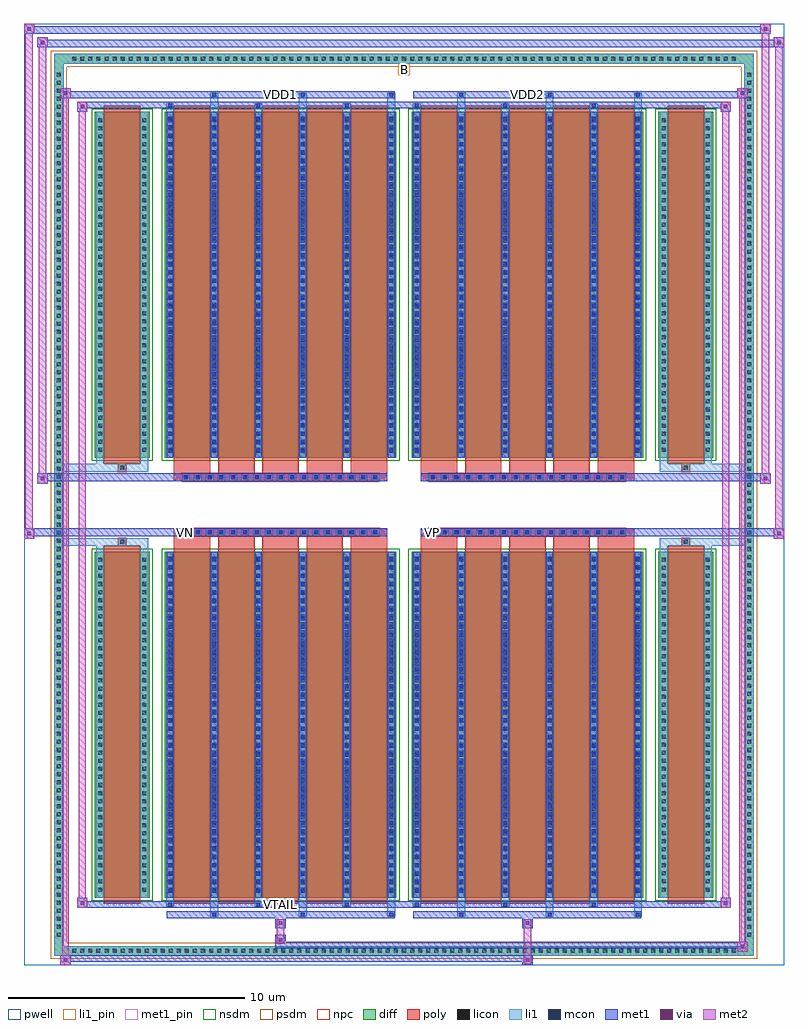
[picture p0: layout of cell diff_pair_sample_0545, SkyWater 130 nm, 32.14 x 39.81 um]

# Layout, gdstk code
import gdstk
lib = gdstk.Library(unit=1e-6, precision=5e-09)
def R(c, l, rs):  # rectangles x0, y0, x1, y1
    for r in rs: c.add(gdstk.rectangle(r[:2], r[2:], *l))
def A(c, l, x, y, w, h, nx, ny, dx, dy):  # array of equal rectangles
    R(c, l, [(x+i*dx, y+j*dy, x+i*dx+w, y+j*dy+h) for i in range(nx) for j in range(ny)])
def P(c, l, *ps):  # polygons
    for p in ps: c.add(gdstk.Polygon(p, *l))
pwell = (64, 44)
diff = (65, 20)
poly = (66, 20)
licon = (66, 44)
li1_pin = (67, 16)
li1 = (67, 20)
mcon = (67, 44)
met1_pin = (68, 16)
met1 = (68, 20)
via = (68, 44)
met2 = (69, 20)
nsdm = (93, 44)
psdm = (94, 20)
npc = (95, 20)

diff_pair_sample_0545 = lib.new_cell('diff_pair_sample_0545')
R(diff_pair_sample_0545, pwell, [(-16.07,-19.47,16.07,20.34), (-13.39,-17.66,-0.01,-0.8), (0.01,-17.66,13.39,-0.8), (-13.39,0.8,-0.01,17.66), (0.01,0.8,13.39,17.66)])
A(diff_pair_sample_0545, diff, -14.145, -19.07, 0.41, 0.41, 83, 2, 0.34, 37.73)
A(diff_pair_sample_0545, diff, -14.8, -18.395, 0.41, 0.41, 1, 108, 0, 0.34)
A(diff_pair_sample_0545, diff, 14.39, -18.395, 0.41, 0.41, 1, 108, 0, 0.34)
R(diff_pair_sample_0545, diff, [(-14.145,-19.07,14.145,-18.66), (-14.8,-18.395,-14.39,18.395), (14.39,-18.395,14.8,18.395), (-13.08,-16.615,-10.76,-1.985), (-10.12,-16.615,-0.32,-1.985), (0.32,-16.615,10.12,-1.985), (10.76,-16.615,13.08,-1.985), (-13.08,1.985,-10.76,16.615), (-10.12,1.985,-0.32,16.615), (0.32,1.985,10.12,16.615), (10.76,1.985,13.08,16.615), (-14.145,18.66,14.145,19.07)])
P(diff_pair_sample_0545, diff, [(14.8,19.07),(-14.8,19.07),(-14.8,-18.66),(-14.39,-18.66),(-14.39,18.66),(14.39,18.66),(14.39,-18.66),(-14.39,-18.66),(-14.8,-18.66),(-14.8,-19.07),(14.8,-19.07)])
A(diff_pair_sample_0545, poly, -9.73, -16.865, 1.54, 15.13, 5, 2, 1.87, 18.6)
A(diff_pair_sample_0545, poly, 0.71, -16.865, 1.54, 15.13, 5, 2, 1.87, 18.6)
A(diff_pair_sample_0545, poly, -9.73, -1.735, 1.54, 0.405, 5, 2, 1.87, 3.065)
A(diff_pair_sample_0545, poly, 0.71, -1.735, 1.54, 0.405, 5, 2, 1.87, 3.065)
A(diff_pair_sample_0545, poly, -9.385, -1.33, 0.33, 0.33, 17, 2, 0.5, 2.33)
A(diff_pair_sample_0545, poly, 1.055, -1.33, 0.33, 0.33, 17, 2, 0.5, 2.33)
R(diff_pair_sample_0545, poly, [(-12.69,-16.865,-11.15,-1.735), (11.15,-16.865,12.69,-1.735), (-12.085,-1.735,-11.755,-1.405), (-12.085,-1.735,-11.755,-1.405), (11.755,-1.735,12.085,-1.405), (11.755,-1.735,12.085,-1.405), (-9.73,-1.33,-0.71,-1), (0.71,-1.33,9.73,-1), (-9.73,1,-0.71,1.33), (0.71,1,9.73,1.33), (-12.085,1.405,-11.755,1.735), (-12.085,1.405,-11.755,1.735), (11.755,1.405,12.085,1.735), (11.755,1.405,12.085,1.735), (-12.69,1.735,-11.15,16.865), (11.15,1.735,12.69,16.865)])
A(diff_pair_sample_0545, licon, -14.025, -18.95, 0.17, 0.17, 83, 2, 0.34, 37.73)
A(diff_pair_sample_0545, licon, -14.68, -18.275, 0.17, 0.17, 1, 108, 0, 0.34)
A(diff_pair_sample_0545, licon, 14.51, -18.275, 0.17, 0.17, 1, 108, 0, 0.34)
A(diff_pair_sample_0545, licon, -12.94, -16.355, 0.17, 0.17, 1, 42, 0, 0.34)
A(diff_pair_sample_0545, licon, -11.07, -16.355, 0.17, 0.17, 1, 42, 0, 0.34)
A(diff_pair_sample_0545, licon, -9.98, -16.355, 0.17, 0.17, 6, 42, 1.87, 0.34)
A(diff_pair_sample_0545, licon, 0.46, -16.355, 0.17, 0.17, 6, 42, 1.87, 0.34)
A(diff_pair_sample_0545, licon, 10.9, -16.355, 0.17, 0.17, 1, 42, 0, 0.34)
A(diff_pair_sample_0545, licon, 12.77, -16.355, 0.17, 0.17, 1, 42, 0, 0.34)
A(diff_pair_sample_0545, licon, -9.305, -1.25, 0.17, 0.17, 17, 2, 0.5, 2.33)
A(diff_pair_sample_0545, licon, 1.135, -1.25, 0.17, 0.17, 17, 2, 0.5, 2.33)
A(diff_pair_sample_0545, licon, -12.94, 2.245, 0.17, 0.17, 1, 42, 0, 0.34)
A(diff_pair_sample_0545, licon, -11.07, 2.245, 0.17, 0.17, 1, 42, 0, 0.34)
A(diff_pair_sample_0545, licon, -9.98, 2.245, 0.17, 0.17, 6, 42, 1.87, 0.34)
A(diff_pair_sample_0545, licon, 0.46, 2.245, 0.17, 0.17, 6, 42, 1.87, 0.34)
A(diff_pair_sample_0545, licon, 10.9, 2.245, 0.17, 0.17, 1, 42, 0, 0.34)
A(diff_pair_sample_0545, licon, 12.77, 2.245, 0.17, 0.17, 1, 42, 0, 0.34)
R(diff_pair_sample_0545, licon, [(-12.005,-1.655,-11.835,-1.485), (11.835,-1.655,12.005,-1.485), (-12.005,1.485,-11.835,1.655), (11.835,1.485,12.005,1.655)])
R(diff_pair_sample_0545, li1_pin, [(-0.25,18.16,0.25,18.66)])
A(diff_pair_sample_0545, li1, -14.105, -19.03, 0.33, 0.33, 83, 2, 0.34, 37.73)
A(diff_pair_sample_0545, li1, -14.76, -18.355, 0.33, 0.33, 1, 108, 0, 0.34)
A(diff_pair_sample_0545, li1, 14.43, -18.355, 0.33, 0.33, 1, 108, 0, 0.34)
A(diff_pair_sample_0545, li1, -8.19, -17.42, 0.33, 0.805, 3, 2, 3.74, 34.035)
A(diff_pair_sample_0545, li1, -8.11, -17.42, 0.17, 0.17, 3, 2, 3.74, 34.67)
A(diff_pair_sample_0545, li1, 2.25, -17.42, 0.33, 0.805, 3, 2, 3.74, 34.035)
A(diff_pair_sample_0545, li1, 2.33, -17.42, 0.17, 0.17, 3, 2, 3.74, 34.67)
A(diff_pair_sample_0545, li1, -10.06, -16.99, 0.33, 0.375, 3, 2, 3.74, 33.605)
A(diff_pair_sample_0545, li1, -9.98, -16.99, 0.17, 0.17, 3, 2, 3.74, 33.81)
A(diff_pair_sample_0545, li1, 0.38, -16.99, 0.33, 0.375, 3, 2, 3.74, 33.605)
A(diff_pair_sample_0545, li1, 0.46, -16.99, 0.17, 0.17, 3, 2, 3.74, 33.81)
A(diff_pair_sample_0545, li1, -10.06, -16.615, 0.33, 14.63, 6, 2, 1.87, 18.6)
A(diff_pair_sample_0545, li1, 0.38, -16.615, 0.33, 14.63, 6, 2, 1.87, 18.6)
A(diff_pair_sample_0545, li1, -13.02, -16.435, 0.33, 0.33, 1, 42, 0, 0.34)
A(diff_pair_sample_0545, li1, -11.15, -16.435, 0.33, 0.33, 1, 42, 0, 0.34)
A(diff_pair_sample_0545, li1, -10.06, -16.435, 0.33, 0.33, 6, 42, 1.87, 0.34)
A(diff_pair_sample_0545, li1, 0.38, -16.435, 0.33, 0.33, 6, 42, 1.87, 0.34)
A(diff_pair_sample_0545, li1, 10.82, -16.435, 0.33, 0.33, 1, 42, 0, 0.34)
A(diff_pair_sample_0545, li1, 12.69, -16.435, 0.33, 0.33, 1, 42, 0, 0.34)
A(diff_pair_sample_0545, li1, -9.98, -16.405, 0.17, 0.17, 6, 40, 1.87, 0.36)
A(diff_pair_sample_0545, li1, -9.98, -16.405, 0.17, 14.21, 6, 2, 1.87, 18.6)
A(diff_pair_sample_0545, li1, 0.46, -16.405, 0.17, 0.17, 6, 40, 1.87, 0.36)
A(diff_pair_sample_0545, li1, 0.46, -16.405, 0.17, 14.21, 6, 2, 1.87, 18.6)
A(diff_pair_sample_0545, li1, -9.385, -1.33, 0.33, 0.33, 17, 2, 0.5, 2.33)
A(diff_pair_sample_0545, li1, 1.055, -1.33, 0.33, 0.33, 17, 2, 0.5, 2.33)
A(diff_pair_sample_0545, li1, -13.02, 2.165, 0.33, 0.33, 1, 42, 0, 0.34)
A(diff_pair_sample_0545, li1, -11.15, 2.165, 0.33, 0.33, 1, 42, 0, 0.34)
A(diff_pair_sample_0545, li1, -10.06, 2.165, 0.33, 0.33, 6, 42, 1.87, 0.34)
A(diff_pair_sample_0545, li1, 0.38, 2.165, 0.33, 0.33, 6, 42, 1.87, 0.34)
A(diff_pair_sample_0545, li1, 10.82, 2.165, 0.33, 0.33, 1, 42, 0, 0.34)
A(diff_pair_sample_0545, li1, 12.69, 2.165, 0.33, 0.33, 1, 42, 0, 0.34)
A(diff_pair_sample_0545, li1, -9.98, 2.195, 0.17, 0.17, 6, 40, 1.87, 0.36)
A(diff_pair_sample_0545, li1, 0.46, 2.195, 0.17, 0.17, 6, 40, 1.87, 0.36)
R(diff_pair_sample_0545, li1, [(-14.8,-19.07,-14.39,-18.66), (-14.8,-19.07,-14.39,-18.66), (-14.39,-19.07,14.39,-18.66), (14.39,-19.07,14.8,-18.66), (14.39,-19.07,14.8,-18.66), (-14.8,-18.66,-14.39,18.66), (14.39,-18.66,14.8,18.66), (-13.02,-16.615,-12.69,-1.985), (-11.15,-16.615,-10.82,-1.985), (10.82,-16.615,11.15,-1.985), (12.69,-16.615,13.02,-1.985), (-13.02,-1.985,-12.69,-1.405), (-11.15,-1.985,-10.82,-1.405), (10.82,-1.985,11.15,-1.405), (12.69,-1.985,13.02,-1.405), (-14.8,-1.735,-12.085,-1.405), (-13.02,-1.735,-12.085,-1.405), (-12.085,-1.735,-11.755,-1.405), (-11.755,-1.735,-10.82,-1.405), (10.82,-1.735,11.755,-1.405), (11.755,-1.735,12.085,-1.405), (11.755,-1.735,14.8,-1.405), (12.085,-1.735,13.02,-1.405), (-14.8,1.405,-12.085,1.735), (-13.02,1.405,-12.085,1.735), (-13.02,1.405,-12.69,1.985), (-12.085,1.405,-11.755,1.735), (-11.755,1.405,-10.82,1.735), (-11.15,1.405,-10.82,1.985), (10.82,1.405,11.755,1.735), (10.82,1.405,11.15,1.985), (11.755,1.405,12.085,1.735), (11.755,1.405,14.8,1.735), (12.085,1.405,13.02,1.735), (12.69,1.405,13.02,1.985), (-13.02,1.985,-12.69,16.615), (-11.15,1.985,-10.82,16.615), (10.82,1.985,11.15,16.615), (12.69,1.985,13.02,16.615), (-14.8,18.66,-14.39,19.07), (-14.8,18.66,-14.39,19.07), (-14.39,18.66,14.39,19.07), (14.39,18.66,14.8,19.07), (14.39,18.66,14.8,19.07)])
A(diff_pair_sample_0545, mcon, -8.11, -17.42, 0.17, 0.17, 3, 2, 3.74, 34.67)
A(diff_pair_sample_0545, mcon, 2.33, -17.42, 0.17, 0.17, 3, 2, 3.74, 34.67)
A(diff_pair_sample_0545, mcon, -9.98, -16.99, 0.17, 0.17, 3, 2, 3.74, 33.81)
A(diff_pair_sample_0545, mcon, 0.46, -16.99, 0.17, 0.17, 3, 2, 3.74, 33.81)
A(diff_pair_sample_0545, mcon, -9.98, -16.405, 0.17, 0.17, 6, 40, 1.87, 0.36)
A(diff_pair_sample_0545, mcon, 0.46, -16.405, 0.17, 0.17, 6, 40, 1.87, 0.36)
A(diff_pair_sample_0545, mcon, -9.305, -1.25, 0.17, 0.17, 17, 2, 0.5, 2.33)
A(diff_pair_sample_0545, mcon, 1.135, -1.25, 0.17, 0.17, 17, 2, 0.5, 2.33)
A(diff_pair_sample_0545, mcon, -9.98, 2.195, 0.17, 0.17, 6, 40, 1.87, 0.36)
A(diff_pair_sample_0545, mcon, 0.46, 2.195, 0.17, 0.17, 6, 40, 1.87, 0.36)
R(diff_pair_sample_0545, met1_pin, [(-5.355,-17.03,-5.085,-16.76), (-9.355,-1.29,-9.085,-1.02), (1.085,-1.29,1.355,-1.02), (-5.355,17.21,-5.085,17.48), (5.085,17.21,5.355,17.48)])
A(diff_pair_sample_0545, met1, -8.17, -17.48, 0.29, 0.29, 3, 2, 3.74, 34.67)
A(diff_pair_sample_0545, met1, 2.27, -17.48, 0.29, 0.29, 3, 2, 3.74, 34.67)
A(diff_pair_sample_0545, met1, -10.04, -17.05, 0.29, 0.29, 3, 2, 3.74, 33.81)
A(diff_pair_sample_0545, met1, 0.4, -17.05, 0.29, 0.29, 3, 2, 3.74, 33.81)
A(diff_pair_sample_0545, met1, -10.04, -16.615, 0.29, 14.63, 6, 2, 1.87, 18.6)
A(diff_pair_sample_0545, met1, 0.4, -16.615, 0.29, 14.63, 6, 2, 1.87, 18.6)
A(diff_pair_sample_0545, met1, -10.04, -16.465, 0.29, 0.29, 6, 40, 1.87, 0.36)
A(diff_pair_sample_0545, met1, 0.4, -16.465, 0.29, 0.29, 6, 40, 1.87, 0.36)
A(diff_pair_sample_0545, met1, -9.365, -1.31, 0.29, 0.29, 17, 2, 0.5, 2.33)
A(diff_pair_sample_0545, met1, 1.075, -1.31, 0.29, 0.29, 17, 2, 0.5, 2.33)
A(diff_pair_sample_0545, met1, -10.04, 2.135, 0.29, 0.29, 6, 40, 1.87, 0.36)
A(diff_pair_sample_0545, met1, 0.4, 2.135, 0.29, 0.29, 6, 40, 1.87, 0.36)
R(diff_pair_sample_0545, met1, [(-14.53,-19.47,-14.1,-19.04), (5.005,-19.47,5.435,-19.04), (-14.53,-19.33,5.435,-19.04), (14.1,-18.9,14.53,-18.47), (-5.435,-18.76,14.53,-18.47), (-5.435,-18.62,-5.005,-18.19), (-5.435,-17.91,-5.005,-17.48), (5.005,-17.91,5.435,-17.48), (-10.04,-17.48,-0.4,-17.19), (0.4,-17.48,10.04,-17.19), (-13.82,-17.05,-13.39,-16.62), (-13.82,-17.05,-10.04,-16.76), (-10.04,-17.05,-0.4,-16.76), (-0.4,-17.05,0.4,-16.76), (0.4,-17.05,10.04,-16.76), (10.04,-17.05,13.82,-16.76), (13.39,-17.05,13.82,-16.62), (-16.07,-1.43,-15.64,-1), (15.64,-1.43,16.07,-1), (-16.07,-1.33,-0.71,-1), (-9.73,-1.33,-0.71,-1), (0.71,-1.33,9.73,-1), (0.71,-1.33,16.07,-1), (-15.5,0.9,-15.07,1.33), (15.07,0.9,15.5,1.33), (-15.5,1,-9.73,1.33), (-9.73,1,-0.71,1.33), (0.71,1,9.73,1.33), (9.73,1,15.5,1.33), (-13.82,16.62,-13.39,17.05), (13.39,16.62,13.82,17.05), (-13.82,16.76,-10.04,17.05), (-10.04,16.76,-0.4,17.05), (-0.4,16.76,0.4,17.05), (0.4,16.76,10.04,17.05), (10.04,16.76,13.82,17.05), (-14.53,17.19,-14.1,17.62), (-14.53,17.19,-10.04,17.48), (-10.04,17.19,-0.4,17.48), (0.4,17.19,10.04,17.48), (10.04,17.19,14.53,17.48), (14.1,17.19,14.53,17.62), (-15.5,19.34,-15.07,19.77), (-15.5,19.34,-13.39,19.67), (-13.39,19.34,13.39,19.67), (13.39,19.34,16.07,19.67), (15.64,19.34,16.07,19.77), (-16.07,19.91,-15.64,20.34), (-16.07,19.91,-13.39,20.24), (-13.39,19.91,13.39,20.24), (13.39,19.91,15.5,20.24), (15.07,19.91,15.5,20.34)])
R(diff_pair_sample_0545, via, [(-14.39,-19.33,-14.24,-19.18), (5.145,-19.33,5.295,-19.18), (14.24,-18.76,14.39,-18.61), (-5.295,-18.48,-5.145,-18.33), (-5.295,-17.77,-5.145,-17.62), (5.145,-17.77,5.295,-17.62), (-13.68,-16.91,-13.53,-16.76), (13.53,-16.91,13.68,-16.76), (-15.93,-1.29,-15.78,-1.14), (15.78,-1.29,15.93,-1.14), (-15.36,1.04,-15.21,1.19), (15.21,1.04,15.36,1.19), (-13.68,16.76,-13.53,16.91), (13.53,16.76,13.68,16.91), (-14.39,17.33,-14.24,17.48), (14.24,17.33,14.39,17.48), (-15.36,19.48,-15.21,19.63), (15.78,19.48,15.93,19.63), (-15.93,20.05,-15.78,20.2), (15.21,20.05,15.36,20.2)])
R(diff_pair_sample_0545, met2, [(-14.53,-19.47,-14.1,-19.04), (-14.46,-19.47,-14.17,17.62), (-14.17,-19.47,-14.1,-19.04), (-14.48,-19.42,-14.15,-19.09), (5.055,-19.42,5.385,-19.09), (5.055,-19.09,5.385,-17.86), (14.1,-18.9,14.53,-18.47), (14.17,-18.9,14.46,17.62), (14.46,-18.9,14.53,-18.47), (14.15,-18.85,14.48,-18.52), (-5.385,-18.57,-5.055,-18.24), (-5.385,-18.24,-5.055,-17.86), (-5.385,-17.86,-5.055,-17.53), (5.055,-17.86,5.385,-17.53), (-13.82,-17.05,-13.39,-16.62), (-13.75,-17.05,-13.46,17.05), (-13.46,-17.05,-13.39,-16.62), (13.39,-17.05,13.82,-16.62), (13.46,-17.05,13.75,17.05), (13.75,-17.05,13.82,-16.62), (-13.77,-17,-13.44,-16.67), (13.44,-17,13.77,-16.67), (-16.07,-1.43,-15.64,-1), (-16.02,-1.43,-15.69,20.34), (-15.69,-1.43,-15.64,-1), (15.64,-1.43,16.07,-1), (15.69,-1.43,16.02,19.77), (16.02,-1.43,16.07,-1), (-16.02,-1.38,-15.69,-1.05), (15.69,-1.38,16.02,-1.05), (-15.5,0.9,-15.07,1.33), (-15.45,0.9,-15.12,19.77), (-15.12,0.9,-15.07,1.33), (15.07,0.9,15.5,1.33), (15.12,0.9,15.45,20.34), (15.45,0.9,15.5,1.33), (-15.45,0.95,-15.12,1.28), (15.12,0.95,15.45,1.28), (-13.82,16.62,-13.39,17.05), (-13.46,16.62,-13.39,17.05), (13.39,16.62,13.82,17.05), (13.75,16.62,13.82,17.05), (-13.77,16.67,-13.44,17), (13.44,16.67,13.77,17), (-14.53,17.19,-14.1,17.62), (-14.17,17.19,-14.1,17.62), (14.1,17.19,14.53,17.62), (14.46,17.19,14.53,17.62), (-14.48,17.24,-14.15,17.57), (14.15,17.24,14.48,17.57), (-15.5,19.34,-15.07,19.77), (-15.12,19.34,-15.07,19.77), (15.64,19.34,16.07,19.77), (16.02,19.34,16.07,19.77), (-15.45,19.39,-15.12,19.72), (15.69,19.39,16.02,19.72), (-16.07,19.91,-15.64,20.34), (-15.69,19.91,-15.64,20.34), (15.07,19.91,15.5,20.34), (15.45,19.91,15.5,20.34), (-16.02,19.96,-15.69,20.29), (15.12,19.96,15.45,20.29)])
R(diff_pair_sample_0545, nsdm, [(-13.21,-16.745,-10.63,-1.855), (-10.25,-16.745,-0.19,-1.855), (0.19,-16.745,10.25,-1.855), (10.63,-16.745,13.21,-1.855), (-13.21,1.855,-10.63,16.745), (-10.25,1.855,-0.19,16.745), (0.19,1.855,10.25,16.745), (10.63,1.855,13.21,16.745)])
P(diff_pair_sample_0545, psdm, [(14.93,19.2),(-14.93,19.2),(-14.93,-18.53),(-14.26,-18.53),(-14.26,18.53),(14.26,18.53),(14.26,-18.53),(-14.26,-18.53),(-14.93,-18.53),(-14.93,-19.2),(14.93,-19.2)])
A(diff_pair_sample_0545, npc, -9.405, -1.35, 0.37, 0.37, 17, 2, 0.5, 2.33)
A(diff_pair_sample_0545, npc, 1.035, -1.35, 0.37, 0.37, 17, 2, 0.5, 2.33)
R(diff_pair_sample_0545, npc, [(-12.105,-1.755,-11.735,-1.385), (11.735,-1.755,12.105,-1.385), (-9.405,-1.35,-8.535,-0.98), (-9.405,-1.35,-8.535,-0.98), (-8.905,-1.35,-8.035,-0.98), (-8.905,-1.35,-8.035,-0.98), (-8.405,-1.35,-7.535,-0.98), (-8.405,-1.35,-7.535,-0.98), (-7.905,-1.35,-7.035,-0.98), (-7.905,-1.35,-7.035,-0.98), (-7.405,-1.35,-6.535,-0.98), (-7.405,-1.35,-6.535,-0.98), (-6.905,-1.35,-6.035,-0.98), (-6.905,-1.35,-6.035,-0.98), (-6.405,-1.35,-5.535,-0.98), (-6.405,-1.35,-5.535,-0.98), (-5.905,-1.35,-5.035,-0.98), (-5.905,-1.35,-5.035,-0.98), (-5.405,-1.35,-4.535,-0.98), (-5.405,-1.35,-4.535,-0.98), (-4.905,-1.35,-4.035,-0.98), (-4.905,-1.35,-4.035,-0.98), (-4.405,-1.35,-3.535,-0.98), (-4.405,-1.35,-3.535,-0.98), (-3.905,-1.35,-3.035,-0.98), (-3.905,-1.35,-3.035,-0.98), (-3.405,-1.35,-2.535,-0.98), (-3.405,-1.35,-2.535,-0.98), (-2.905,-1.35,-2.035,-0.98), (-2.905,-1.35,-2.035,-0.98), (-2.405,-1.35,-1.535,-0.98), (-2.405,-1.35,-1.535,-0.98), (-1.905,-1.35,-1.035,-0.98), (-1.905,-1.35,-1.035,-0.98), (1.035,-1.35,1.905,-0.98), (1.035,-1.35,1.905,-0.98), (1.535,-1.35,2.405,-0.98), (1.535,-1.35,2.405,-0.98), (2.035,-1.35,2.905,-0.98), (2.035,-1.35,2.905,-0.98), (2.535,-1.35,3.405,-0.98), (2.535,-1.35,3.405,-0.98), (3.035,-1.35,3.905,-0.98), (3.035,-1.35,3.905,-0.98), (3.535,-1.35,4.405,-0.98), (3.535,-1.35,4.405,-0.98), (4.035,-1.35,4.905,-0.98), (4.035,-1.35,4.905,-0.98), (4.535,-1.35,5.405,-0.98), (4.535,-1.35,5.405,-0.98), (5.035,-1.35,5.905,-0.98), (5.035,-1.35,5.905,-0.98), (5.535,-1.35,6.405,-0.98), (5.535,-1.35,6.405,-0.98), (6.035,-1.35,6.905,-0.98), (6.035,-1.35,6.905,-0.98), (6.535,-1.35,7.405,-0.98), (6.535,-1.35,7.405,-0.98), (7.035,-1.35,7.905,-0.98), (7.035,-1.35,7.905,-0.98), (7.535,-1.35,8.405,-0.98), (7.535,-1.35,8.405,-0.98), (8.035,-1.35,8.905,-0.98), (8.035,-1.35,8.905,-0.98), (8.535,-1.35,9.405,-0.98), (8.535,-1.35,9.405,-0.98), (-9.405,0.98,-8.535,1.35), (-9.405,0.98,-8.535,1.35), (-8.905,0.98,-8.035,1.35), (-8.905,0.98,-8.035,1.35), (-8.405,0.98,-7.535,1.35), (-8.405,0.98,-7.535,1.35), (-7.905,0.98,-7.035,1.35), (-7.905,0.98,-7.035,1.35), (-7.405,0.98,-6.535,1.35), (-7.405,0.98,-6.535,1.35), (-6.905,0.98,-6.035,1.35), (-6.905,0.98,-6.035,1.35), (-6.405,0.98,-5.535,1.35), (-6.405,0.98,-5.535,1.35), (-5.905,0.98,-5.035,1.35), (-5.905,0.98,-5.035,1.35), (-5.405,0.98,-4.535,1.35), (-5.405,0.98,-4.535,1.35), (-4.905,0.98,-4.035,1.35), (-4.905,0.98,-4.035,1.35), (-4.405,0.98,-3.535,1.35), (-4.405,0.98,-3.535,1.35), (-3.905,0.98,-3.035,1.35), (-3.905,0.98,-3.035,1.35), (-3.405,0.98,-2.535,1.35), (-3.405,0.98,-2.535,1.35), (-2.905,0.98,-2.035,1.35), (-2.905,0.98,-2.035,1.35), (-2.405,0.98,-1.535,1.35), (-2.405,0.98,-1.535,1.35), (-1.905,0.98,-1.035,1.35), (-1.905,0.98,-1.035,1.35), (1.035,0.98,1.905,1.35), (1.035,0.98,1.905,1.35), (1.535,0.98,2.405,1.35), (1.535,0.98,2.405,1.35), (2.035,0.98,2.905,1.35), (2.035,0.98,2.905,1.35), (2.535,0.98,3.405,1.35), (2.535,0.98,3.405,1.35), (3.035,0.98,3.905,1.35), (3.035,0.98,3.905,1.35), (3.535,0.98,4.405,1.35), (3.535,0.98,4.405,1.35), (4.035,0.98,4.905,1.35), (4.035,0.98,4.905,1.35), (4.535,0.98,5.405,1.35), (4.535,0.98,5.405,1.35), (5.035,0.98,5.905,1.35), (5.035,0.98,5.905,1.35), (5.535,0.98,6.405,1.35), (5.535,0.98,6.405,1.35), (6.035,0.98,6.905,1.35), (6.035,0.98,6.905,1.35), (6.535,0.98,7.405,1.35), (6.535,0.98,7.405,1.35), (7.035,0.98,7.905,1.35), (7.035,0.98,7.905,1.35), (7.535,0.98,8.405,1.35), (7.535,0.98,8.405,1.35), (8.035,0.98,8.905,1.35), (8.035,0.98,8.905,1.35), (8.535,0.98,9.405,1.35), (8.535,0.98,9.405,1.35), (-12.105,1.385,-11.735,1.755), (11.735,1.385,12.105,1.755)])
diff_pair_sample_0545.add(gdstk.Label('VTAIL', (-5.22,-16.895), layer=68, texttype=5))
diff_pair_sample_0545.add(gdstk.Label('VN', (-9.22,-1.155), layer=68, texttype=5))
diff_pair_sample_0545.add(gdstk.Label('VP', (1.22,-1.155), layer=68, texttype=5))
diff_pair_sample_0545.add(gdstk.Label('B', (0,18.41), layer=67, texttype=5))
diff_pair_sample_0545.add(gdstk.Label('VDD2', (5.22,17.345), layer=68, texttype=5))
diff_pair_sample_0545.add(gdstk.Label('VDD1', (-5.22,17.345), layer=68, texttype=5))

lib.write_gds('diff_pair_sample_0545.gds')
